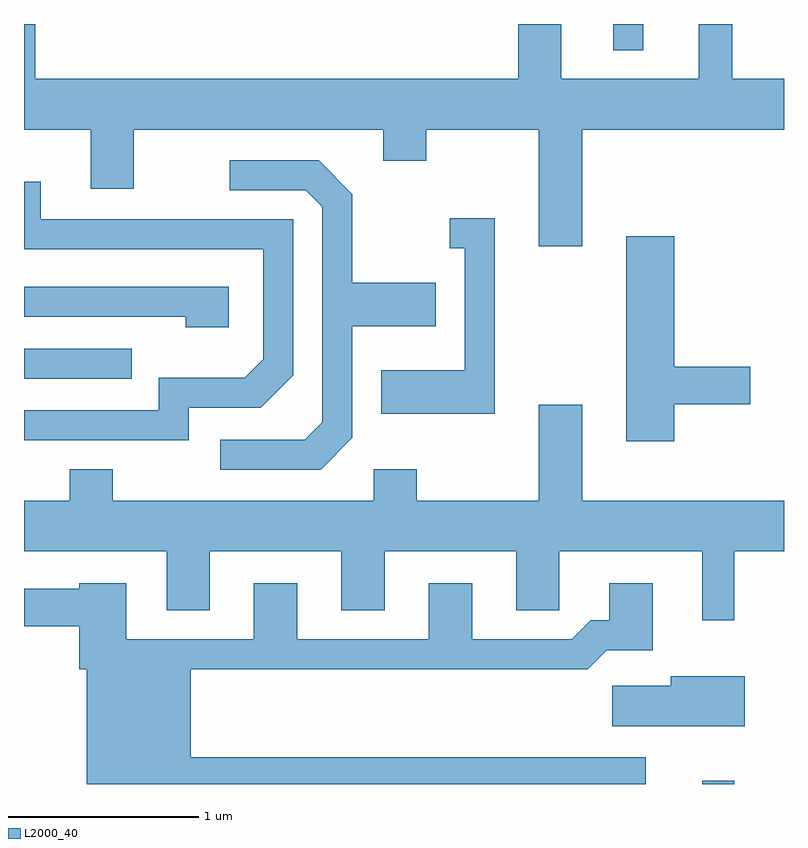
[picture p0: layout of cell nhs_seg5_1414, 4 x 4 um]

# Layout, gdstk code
import gdstk
lib = gdstk.Library(unit=1e-6, precision=1e-09)
def R(c, l, rs):  # rectangles x0, y0, x1, y1
    for r in rs: c.add(gdstk.rectangle(r[:2], r[2:], *l))
def P(c, l, *ps):  # polygons
    for p in ps: c.add(gdstk.Polygon(p, *l))
L2000_40 = (2000, 40)

nhs_seg5_1414 = lib.new_cell('nhs_seg5_1414')
R(nhs_seg5_1414, L2000_40, [(231.181,1400.072,231.349,1400.088), (227.611,1402.206,228.178,1402.364), (230.711,1403.933,230.869,1404.072)])
P(nhs_seg5_1414, L2000_40, [(230.549,1403.516),(231.611,1403.516),(231.611,1403.784),(231.339,1403.784),(231.339,1404.072),(231.161,1404.072),(231.161,1403.784),(230.439,1403.784),(230.439,1404.072),(230.211,1404.072),(230.211,1403.784),(227.669,1403.784),(227.669,1404.072),(227.611,1404.072),(227.611,1403.516),(227.961,1403.516),(227.961,1403.206),(228.189,1403.206),(228.189,1403.516),(229.501,1403.516),(229.501,1403.351),(229.729,1403.351),(229.729,1403.516),(230.321,1403.516),(230.321,1402.901),(230.549,1402.901)],
  [(229.339,1401.894),(229.339,1402.481),(229.779,1402.481),(229.779,1402.709),(229.339,1402.709),(229.339,1403.177),(229.162,1403.354),(228.693,1403.354),(228.693,1403.196),(229.094,1403.196),(229.181,1403.109),(229.181,1401.977),(229.089,1401.884),(228.643,1401.884),(228.643,1401.726),(229.172,1401.726)],
  [(228.479,1402.051),(228.857,1402.051),(229.029,1402.224),(229.029,1403.044),(227.699,1403.044),(227.699,1403.243),(227.611,1403.243),(227.611,1402.886),(228.871,1402.886),(228.871,1402.307),(228.774,1402.209),(228.321,1402.209),(228.321,1402.039),(227.611,1402.039),(227.611,1401.881),(228.479,1401.881)],
  [(230.089,1403.049),(229.853,1403.049),(229.853,1402.891),(229.931,1402.891),(229.931,1402.249),(229.491,1402.249),(229.491,1402.021),(230.089,1402.021)],
  [(231.034,1402.071),(231.434,1402.071),(231.434,1402.269),(231.034,1402.269),(231.034,1402.954),(230.781,1402.954),(230.781,1401.876),(231.034,1401.876)],
  [(228.689,1402.689),(227.611,1402.689),(227.611,1402.531),(228.461,1402.531),(228.461,1402.476),(228.689,1402.476)],
  [(231.349,1401.296),(231.611,1401.296),(231.611,1401.564),(230.549,1401.564),(230.549,1402.069),(230.321,1402.069),(230.321,1401.564),(229.679,1401.564),(229.679,1401.729),(229.451,1401.729),(229.451,1401.564),(228.079,1401.564),(228.079,1401.729),(227.851,1401.729),(227.851,1401.564),(227.611,1401.564),(227.611,1401.296),(228.361,1401.296),(228.361,1400.986),(228.589,1400.986),(228.589,1401.296),(229.281,1401.296),(229.281,1400.986),(229.509,1400.986),(229.509,1401.296),(230.201,1401.296),(230.201,1400.986),(230.429,1400.986),(230.429,1401.296),(231.181,1401.296),(231.181,1400.933),(231.349,1400.933)],
  [(230.884,1400.214),(228.489,1400.214),(228.489,1400.676),(230.577,1400.676),(230.677,1400.776),(230.919,1400.776),(230.919,1401.129),(230.691,1401.129),(230.691,1400.934),(230.594,1400.934),(230.494,1400.834),(229.969,1400.834),(229.969,1401.129),(229.741,1401.129),(229.741,1400.834),(229.049,1400.834),(229.049,1401.129),(228.821,1401.129),(228.821,1400.834),(228.149,1400.834),(228.149,1401.129),(227.901,1401.129),(227.901,1401.099),(227.611,1401.099),(227.611,1400.901),(227.901,1400.901),(227.901,1400.676),(227.941,1400.676),(227.941,1400.072),(230.884,1400.072)],
  [(231.404,1400.639),(231.016,1400.639),(231.016,1400.589),(230.706,1400.589),(230.706,1400.376),(231.404,1400.376)])

lib.write_gds('nhs_seg5_1414.gds')
